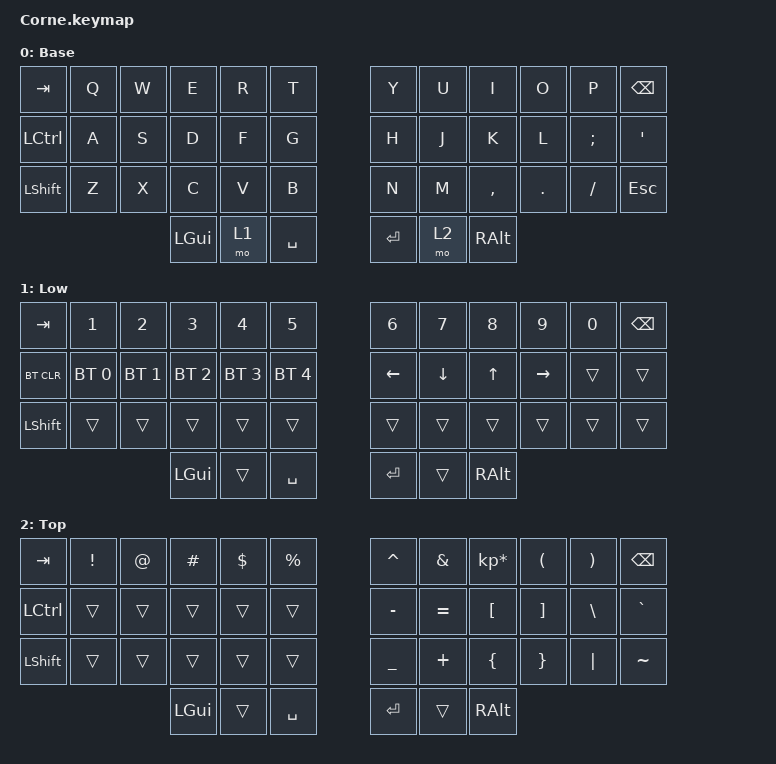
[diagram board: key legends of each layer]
/*
 * Copyright (c) 2020 The ZMK Contributors
 *
 * SPDX-License-Identifier: MIT
 */

#include <behaviors.dtsi>
#include <dt-bindings/zmk/keys.h>
#include <dt-bindings/zmk/bt.h>
#include <dt-bindings/zmk/rgb.h> // WICHTIG: Erlaubt uns, die RGB-Farbbefehle zu nutzen

/ {
        // Dieser Block steuert die LEDs je nach aktivem Layer
        led_layer_listener {
                compatible = "zmk,behavior-listener";
                device = <&rgb_ug>; // Verweist direkt auf den RGB Underglow Treiber
                layers = <0 1 2>;   // Lauscht auf Base (0), Low (1) und Top (2)
                
                bindings = <
                        // Layer 0 (Base): Lila (Hue: 290, Saturation: 100, Brightness: 60)
                        &rgb_ug RGB_HUD RGB_HUI(290) RGB_SAD RGB_SAI(100) RGB_BRD RGB_BRI(60)
                        // Layer 1 (Low): Schaltet auf Rot (Hue: 0, Saturation: 100, Brightness: 60)
                        &rgb_ug RGB_HUD RGB_HUI(0) RGB_SAD RGB_SAI(100) RGB_BRD RGB_BRI(60)   
                        // Layer 2 (Top): Schaltet auf Blau (Hue: 240, Saturation: 100, Brightness: 60)
                        &rgb_ug RGB_HUD RGB_HUI(240) RGB_SAD RGB_SAI(100) RGB_BRD RGB_BRI(60) 
                >;
        };

        keymap {
                compatible = "zmk,keymap";

                default_layer {
// -----------------------------------------------------------------------------------------
// |  TAB |  Q  |  W  |  E  |  R  |  T  |   |  Y  |  U   |  I  |  O  |  P  | BKSP |
// | CTRL |  A  |  S  |  D  |  F  |  G  |   |  H  |  J   |  K  |  L  |  ;  |  '   |
// | SHFT |  Z  |  X  |  C  |  V  |  B  |   |  N  |  M   |  ,  |  .  |  /  | ESC  |
//                    | GUI | LWR | SPC |   | ENT | RSE  | ALT |
                        bindings = <
   &kp TAB   &kp Q &kp W &kp E &kp R &kp T   &kp Y &kp U  &kp I      &kp O   &kp P    &kp BSPC
   &kp LCTRL &kp A &kp S &kp D &kp F &kp G   &kp H &kp J  &kp K      &kp L   &kp SEMI &kp SQT
   &kp LSHFT &kp Z &kp X &kp C &kp V &kp B   &kp N &kp M  &kp COMMA &kp DOT &kp FSLH &kp ESC
                  &kp LGUI &mo 1 &kp SPACE   &kp RET &mo 2 &kp RALT
                        >;
                display-name = "Base";
                };
                lower_layer {
// -----------------------------------------------------------------------------------------
// |  TAB |  1  |  2  |  3  |  4  |  5  |   |  6  |  7  |  8  |  9  |  0  | BKSP |
// | BTCLR| BT1 | BT2 | BT3 | BT4 | BT5 |   | LFT | DWN |  UP | RGT |      |      |
// | SHFT |     |     |     |     |     |   |     |     |     |     |      |      |
//                    | GUI |     | SPC |   | ENT |     | ALT |
                        bindings = <
   &kp TAB    &kp N1       &kp N2       &kp N3       &kp N4       &kp N5         &kp N6   &kp N7   &kp N8 &kp N9    &kp N0 &kp BSPC
   &bt BT_CLR &bt BT_SEL 0 &bt BT_SEL 1 &bt BT_SEL 2 &bt BT_SEL 3 &bt BT_SEL 4   &kp LEFT &kp DOWN &kp UP &kp RIGHT &trans &trans
   &kp LSHFT  &trans       &trans       &trans       &trans       &trans         &trans   &trans   &trans &trans    &trans &trans
                                    &kp LGUI     &trans       &kp SPACE      &kp RET  &trans   &kp RALT
                        >;
                display-name = "Low";
                };

                raise_layer {
// -----------------------------------------------------------------------------------------
// |  TAB |  !  |  @  |  #  |  $  |  %  |   |  ^  |  &  |  *  |  (  |  )  | BKSP |
// | CTRL |     |     |     |     |     |   |  -  |  =  |  [  |  ]  |  \  |  `   |
// | SHFT |     |     |     |     |     |   |  _  |  +  |  {  |  }  | "|" |  ~   |
//                    | GUI |     | SPC |   | ENT |     | ALT |
                        bindings = <
   &kp  TAB  &kp EXCL &kp AT &kp HASH &kp DLLR &kp PRCNT   &kp CARET &kp AMPS  &kp KP_MULTIPLY &kp LPAR &kp RPAR &kp BSPC
   &kp LCTRL &trans   &trans &trans   &trans   &trans      &kp MINUS &kp EQUAL &kp LBKT        &kp RBKT &kp BSLH &kp GRAVE
   &kp LSHFT &trans   &trans &trans   &trans   &trans      &kp UNDER &kp PLUS  &kp LBRC        &kp RBRC &kp PIPE &kp TILDE
                             &kp LGUI &trans   &kp SPACE   &kp RET   &trans    &kp RALT
                        >;
                display-name = "Top";
                };
        extra1 { status = "reserved"; };

        extra2 { status = "reserved"; };

        extra3 { status = "reserved"; };

        extra4 { status = "reserved"; };

        extra5 { status = "reserved"; };
        };
};
